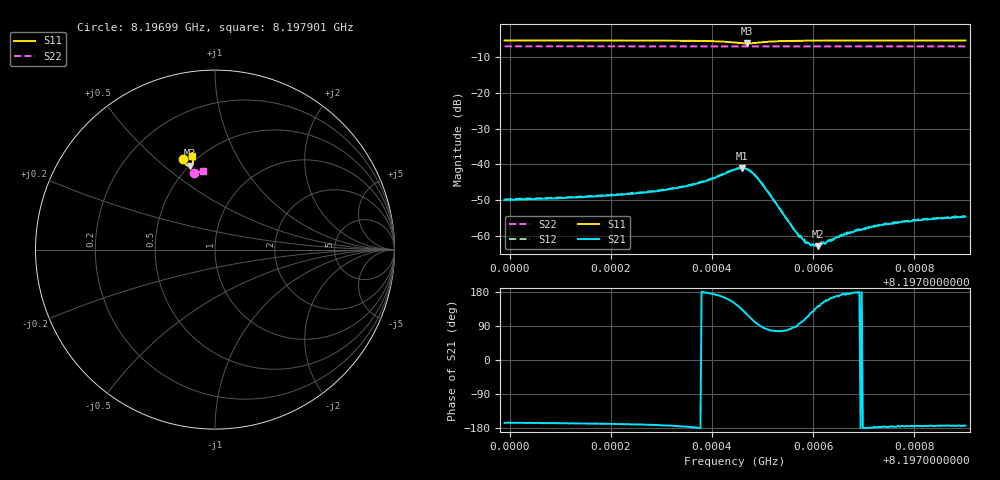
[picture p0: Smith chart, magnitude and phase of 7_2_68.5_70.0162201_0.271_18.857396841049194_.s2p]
#  HZ  S  RI  R  50.00
! Rohde & Schwarz Vector Network Analyzer
! Rohde-Schwarz,ZNB20-2Port,1311601062101988,3.16
! Created: UTC 3/20/2024, 4:48:51 PM
! freq[Hz]  re:S11  im:S11  re:S21  im:S21  re:S12  im:S12  re:S22  im:S22
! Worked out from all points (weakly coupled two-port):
!   401 points, 8.19699 GHz to 8.197901 GHz, reference 50 ohm
!   highest |S21| = -41.05 dB at 8.197459 GHz (marker M1); lowest = -62.8 dB at 8.19761 GHz (marker M2)
!   lowest |S11| = -6.3 dB at 8.197468 GHz (marker M3), VSWR 2.90, Z = 25.2 + j30.9 ohm
!   |S11| at or under -10 dB: nowhere
!   |S22| runs from -7.1 to -7.0 dB; largest |S21 - S12| = 0.00043
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8.1969902e9  -0.1799 0.5049  -0.00311 -0.000766  -0.00318 -0.000693  -0.1152 0.4289
8.1971427e9  -0.1677 0.5086  -0.0034 -0.00076  -0.00355 -0.000652  -0.1067 0.4307
8.1972202e9  -0.1607 0.5102  -0.0037 -0.000712  -0.00383 -0.000562  -0.1024 0.4316
8.1972953e9  -0.1524 0.5114  -0.00424 -0.000604  -0.00434 -0.000427  -0.0981 0.4324
8.1973363e9  -0.1466 0.5113  -0.00478 -0.000435  -0.00485 -0.000228  -0.0958 0.433
8.197375e9  -0.1394 0.5101  -0.00555 -4.81e-05  -0.00563 0.000171  -0.0937 0.4333
8.1974001e9  -0.1329 0.507  -0.00626 0.000561  -0.00636 0.000858  -0.0921 0.4334
8.1974456e9  -0.1227 0.485  -0.0073 0.00439  -0.00724 0.00477  -0.0896 0.4331
8.1974593e9  -0.1286 0.4727  -0.0061 0.00643  -0.00593 0.00679  -0.0889 0.433
8.1974684e9  -0.1374 0.4669  -0.00449 0.00733  -0.00425 0.00763  -0.0887 0.433
8.1974797e9  -0.1508 0.4667  -0.00215 0.00735  -0.0019 0.00756  -0.0884 0.4332
8.1974957e9  -0.1636 0.4761  3.92e-05 0.00573  0.000254 0.00586  -0.0879 0.4336
8.1975686e9  -0.1595 0.5058  -1.21e-05 0.00108  4.3e-05 0.0011  -0.0838 0.4349
8.1975822e9  -0.1573 0.5078  -0.000221 0.000834  -0.000226 0.000876  -0.0829 0.4352
8.1975913e9  -0.1558 0.5089  -0.000355 0.000713  -0.000355 0.000705  -0.0824 0.4352
8.1975982e9  -0.155 0.5096  -0.000454 0.000606  -0.000463 0.000621  -0.082 0.4352
8.1976095e9  -0.1533 0.5106  -0.000574 0.000444  -0.000569 0.00049  -0.0813 0.4352
8.1976482e9  -0.1486 0.5132  -0.000959 0.000172  -0.000932 0.000239  -0.0791 0.4358
8.1976847e9  -0.1448 0.5149  -0.00118 5.09e-05  -0.00122 5.76e-05  -0.077 0.4361
8.1977507e9  -0.1385 0.5171  -0.00148 -0.00011  -0.00148 -2.56e-05  -0.0733 0.4366
8.1978122e9  -0.1332 0.5186  -0.00165 -0.000157  -0.00174 -0.00011  -0.0698 0.4371
8.197901e9  -0.126 0.5204  -0.00186 -0.000218  -0.00191 -0.000148  -0.0648 0.4378
